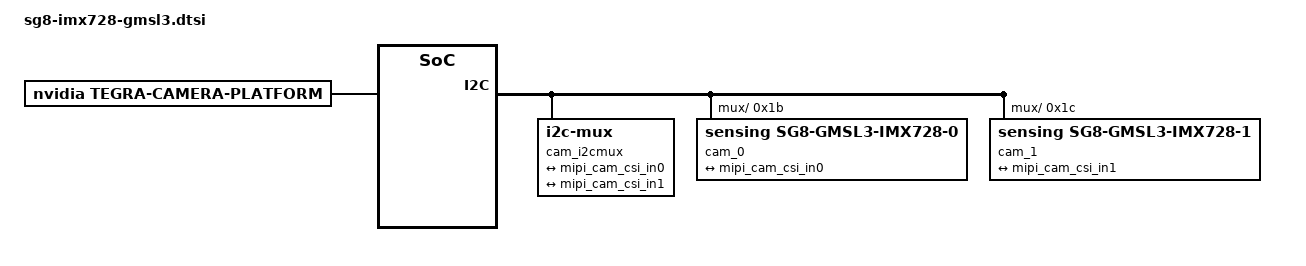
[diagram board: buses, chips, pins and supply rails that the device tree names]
/*
 * Copyright (c) 2022-2023, NVIDIA CORPORATION.  All rights reserved.
 *
 * This program is free software; you can redistribute it and/or modify
 * it under the terms of the GNU General Public License as published by
 * the Free Software Foundation; either version 2 of the License, or
 * (at your option) any later version.
 *
 * This program is distributed in the hope that it will be useful, but WITHOUT
 * ANY WARRANTY; without even the implied warranty of MERCHANTABILITY or
 * FITNESS FOR A PARTICULAR PURPOSE.  See the GNU General Public License for
 * more details.
 *
 * You should have received a copy of the GNU General Public License
 * along with this program.  If not, see <http://www.gnu.org/licenses/>.
 */
#define CAM0_PWDN	TEGRA234_MAIN_GPIO(H, 6)
#define CAM1_PWDN	TEGRA234_MAIN_GPIO(AC, 0)
#define CAM_I2C_MUX 	TEGRA234_AON_GPIO(CC, 3)

/ {
	tegra-capture-vi  {
		num-channels = <2>;
		ports {
			#address-cells = <1>;
			#size-cells = <0>;
			port@0 {
				reg = <0>;
				mipi_cam_vi_in0: endpoint {
					vc-id = <0>;
					port-index = <2>;
					bus-width = <4>;
					remote-endpoint = <&mipi_cam_csi_out0>;
				};
			};
			port@1 {
				reg = <1>;
				mipi_cam_vi_in1: endpoint {
					vc-id = <1>;
					port-index = <2>;
					bus-width = <4>;
					remote-endpoint = <&mipi_cam_csi_out1>;
				};
			};
		};
	};

	host1x@13e00000 {
		nvcsi@15a00000 {
			num-channels = <2>;
			#address-cells = <1>;
			#size-cells = <0>;
			channel@0 {
				reg = <0>;
				ports {
					#address-cells = <1>;
					#size-cells = <0>;
					port@0 {
						reg = <0>;
						mipi_cam_csi_in0: endpoint@0 {
							port-index = <2>;
							bus-width = <4>;
							remote-endpoint = <&mipi_cam_out0>;
						};
					};
					port@1 {
						reg = <1>;
						mipi_cam_csi_out0: endpoint@1 {
							remote-endpoint = <&mipi_cam_vi_in0>;
						};
					};
				};
			};
			channel@1 {
				reg = <1>;
				ports {
					#address-cells = <1>;
					#size-cells = <0>;
					port@0 {
						reg = <0>;
						mipi_cam_csi_in1: endpoint@2 {
							port-index = <2>;
							bus-width = <4>;
							remote-endpoint = <&mipi_cam_out1>;
						};
					};
					port@1 {
						reg = <1>;
						mipi_cam_csi_out1: endpoint@3 {
							remote-endpoint = <&mipi_cam_vi_in1>;
						};
					};
				};
			};
		};
	};

	cam_i2cmux {
		i2c@1 {
			cam_0@1b {
				compatible = "sensing,sg8-gmsl3-imx728-0";
				reg = <0x1b>;
				def-addr = <0x1a>;
				devnode = "video0";

				/* Physical dimensions of sensor */
				physical_w = "15.0";
				physical_h = "12.5";

				sensor_model ="imx728";

				/* Defines number of frames to be dropped by driver internally after applying */
				/* sensor crop settings. Some sensors send corrupt frames after applying */
				/* crop co-ordinates */
				post_crop_frame_drop = "0";

				/* Convert Gain to unit of dB (decibel) befor passing to kernel driver */
				use_decibel_gain = "true";

				/* enable CID_SENSOR_MODE_ID for sensor modes selection */
				use_sensor_mode_id = "true";

				mode0 {
					mclk_khz = "24000";
					num_lanes = "4";
					tegra_sinterface = "serial_c";
					discontinuous_clk = "no";
					dpcm_enable = "false";
					cil_settletime = "0";
					dynamic_pixel_bit_depth = "12";
					csi_pixel_bit_depth = "12";
					mode_type = "bayer";
					pixel_phase = "rggb";
					vc_id = "0";

					active_w = "3840";
					active_h = "2160";
					readout_orientation = "0";
					line_length = "4400";
					inherent_gain = "1";
					pix_clk_hz = "74250000";
					serdes_pix_clk_hz = "700000000";

					gain_factor = "10";
					min_gain_val = "0"; /* dB */
					max_gain_val = "240"; /* dB */
					step_gain_val = "1"; /* 0.1 */
					default_gain = "0";
					min_hdr_ratio = "1";
					max_hdr_ratio = "1";
					framerate_factor = "1000000";
					min_framerate = "30000000";
					max_framerate = "30000000";
					step_framerate = "1";
					default_framerate = "30000000";
					exposure_factor = "1000000";
					min_exp_time = "59"; /*us, 2 lines*/
					max_exp_time = "33333";
					step_exp_time = "1";
					default_exp_time = "33333";/* us */
					embedded_metadata_height = "0";
				};
				
				ports {
					#address-cells = <1>;
					#size-cells = <0>;

					port@0 {
						reg = <0>;
						mipi_cam_out0: endpoint {
							vc-id = <0>;
							port-index = <2>;
							bus-width = <4>;
							remote-endpoint = <&mipi_cam_csi_in0>;
						};
					};
				};	
				gmsl-link {
					src-csi-port = "b";
					dst-csi-port = "a";
					serdes-csi-link = "a";
					csi-mode = "1x4";
					st-vc = <0>;
					vc-id = <0>;
					num-lanes = <4>;
					streams = "ued-u1","raw12";
				};
			};
			cam_1@1c {
				compatible = "sensing,sg8-gmsl3-imx728-1";
				reg = <0x1c>;
				def-addr = <0x1a>;
				devnode = "video1";

				/* Physical dimensions of sensor */
				physical_w = "15.0";
				physical_h = "12.5";

				sensor_model ="imx728";

				/* Defines number of frames to be dropped by driver internally after applying */
				/* sensor crop settings. Some sensors send corrupt frames after applying */
				/* crop co-ordinates */
				post_crop_frame_drop = "0";

				/* Convert Gain to unit of dB (decibel) befor passing to kernel driver */
				use_decibel_gain = "true";

				/* enable CID_SENSOR_MODE_ID for sensor modes selection */
				use_sensor_mode_id = "true";

				mode0 {
					mclk_khz = "24000";
					num_lanes = "4";
					tegra_sinterface = "serial_c";
					discontinuous_clk = "no";
					dpcm_enable = "false";
					cil_settletime = "0";
					dynamic_pixel_bit_depth = "12";
					csi_pixel_bit_depth = "12";
					mode_type = "bayer";
					pixel_phase = "rggb";
					vc_id = "1";

					active_w = "3840";
					active_h = "2160";
					readout_orientation = "0";
					line_length = "4400";
					inherent_gain = "1";
					pix_clk_hz = "74250000";
					serdes_pix_clk_hz = "700000000";

					gain_factor = "10";
					min_gain_val = "0"; /* dB */
					max_gain_val = "240"; /* dB */
					step_gain_val = "1"; /* 0.1 */
					default_gain = "0";
					min_hdr_ratio = "1";
					max_hdr_ratio = "1";
					framerate_factor = "1000000";
					min_framerate = "30000000";
					max_framerate = "30000000";
					step_framerate = "1";
					default_framerate = "30000000";
					exposure_factor = "1000000";
					min_exp_time = "59"; /*us, 2 lines*/
					max_exp_time = "33333";
					step_exp_time = "1";
					default_exp_time = "33333";/* us */
					embedded_metadata_height = "0";
				};
				
				ports {
					#address-cells = <1>;
					#size-cells = <0>;

					port@0 {
						reg = <0>;
						mipi_cam_out1: endpoint {
							vc-id = <1>;
							port-index = <2>;
							bus-width = <4>;
							remote-endpoint = <&mipi_cam_csi_in1>;
						};
					};
				};	
				gmsl-link {
					src-csi-port = "b";
					dst-csi-port = "a";
					serdes-csi-link = "b";
					csi-mode = "1x4";
					st-vc = <1>;
					vc-id = <1>;
					num-lanes = <4>;
					streams = "ued-u1","raw12";
				};
			};
		};
	};
};

/ {
	tegra-camera-platform {
		compatible = "nvidia, tegra-camera-platform";

		/**
		* Physical settings to calculate max ISO BW
		*
		* num_csi_lanes = <>;
		* Total number of CSI lanes when all cameras are active
		*
		* max_lane_speed = <>;
		* Max lane speed in Kbit/s
		*
		* min_bits_per_pixel = <>;
		* Min bits per pixel
		*
		* vi_peak_byte_per_pixel = <>;
		* Max byte per pixel for the VI ISO case
		*
		* vi_bw_margin_pct = <>;
		* Vi bandwidth margin in percentage
		*
		* max_pixel_rate = <>;
		* Max pixel rate in Kpixel/s for the ISP ISO case
		*
		* isp_peak_byte_per_pixel = <>;
		* Max byte per pixel for the ISP ISO case
		*
		* isp_bw_margin_pct = <>;
		* Isp bandwidth margin in percentage
		*/
		num_csi_lanes = <8>;
		max_lane_speed = <2500000>;
		min_bits_per_pixel = <10>;
		vi_peak_byte_per_pixel = <2>;
		vi_bw_margin_pct = <25>;
		max_pixel_rate = <7500000>;
		isp_peak_byte_per_pixel = <5>;
		isp_bw_margin_pct = <25>;

		/**
		 * The general guideline for naming badge_info contains 3 parts, and is as follows,
		 * The first part is the camera_board_id for the module; if the module is in a FFD
		 * platform, then use the platform name for this part.
		 * The second part contains the position of the module, ex. "rear" or "front".
		 * The third part contains the last 6 characters of a part number which is found
		 * in the module's specsheet from the vendor.
		 */
		modules {
			module0 {
				badge = "cam0_front";
				position = "front";
				orientation = "1";
				drivernode0 {
					pcl_id = "v4l2_sensor";
					devname = "imx728 9-001b";
					proc-device-tree = "/proc/device-tree/cam_i2cmux/i2c@1/cam_0@1b";
				};
			};
			module1 {
				badge = "cam1_rear";
				position = "rear";
				orientation = "1";
				drivernode0 {
					pcl_id = "v4l2_sensor";
					devname = "imx728 9-001c";
					proc-device-tree = "/proc/device-tree/cam_i2cmux/i2c@1/cam_1@1c";
				};
			};
		};
	};
};
